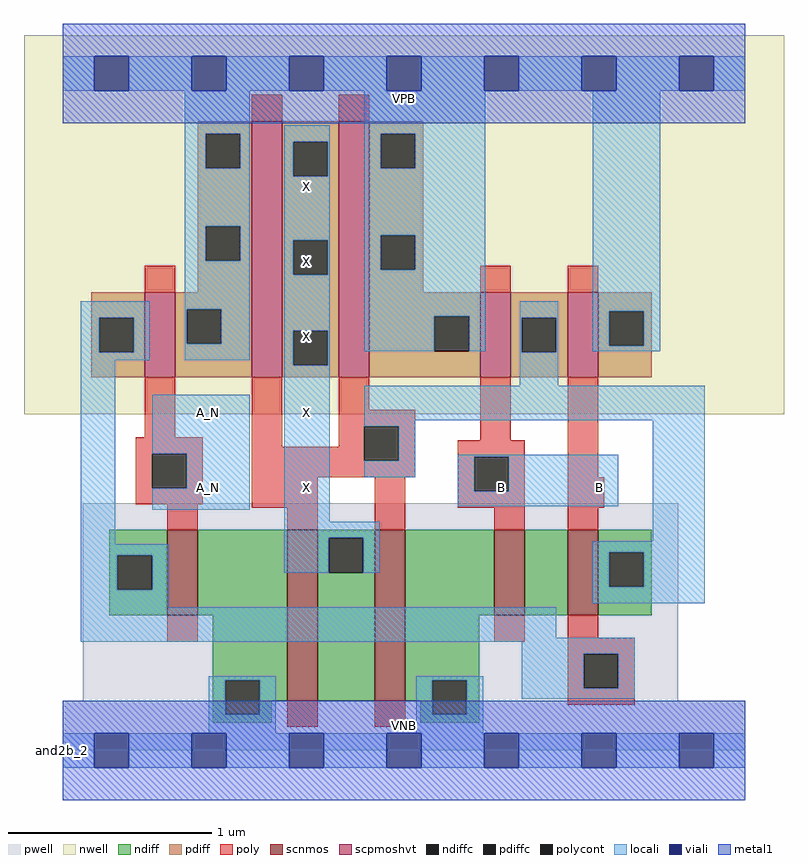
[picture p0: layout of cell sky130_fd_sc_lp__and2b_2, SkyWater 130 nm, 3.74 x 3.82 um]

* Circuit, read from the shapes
.subckt sky130_fd_sc_lp__and2b_2 A_N B VGND VNB VPB VPWR X
XM1 VGND A_N n1 VNB sky130_fd_pr__nfet_01v8 w=0.42 l=0.15
XM2 X n2 VGND VNB sky130_fd_pr__nfet_01v8 w=0.84 l=0.15 m=2
XM3 n3 B VGND VNB sky130_fd_pr__nfet_01v8 w=0.42 l=0.15
XM4 n2 n1 n3 VNB sky130_fd_pr__nfet_01v8 w=0.42 l=0.15
XM5 VPWR A_N n1 VPB sky130_fd_pr__pfet_01v8_hvt w=0.42 l=0.15
XM6 X n2 VPWR VPB sky130_fd_pr__pfet_01v8_hvt w=1.26 l=0.15 m=2
XM7 n2 B VPWR VPB sky130_fd_pr__pfet_01v8_hvt w=0.42 l=0.15
XM8 VPWR n1 n2 VPB sky130_fd_pr__pfet_01v8_hvt w=0.42 l=0.15
.ends

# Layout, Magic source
magic
tech sky130A
magscale 1 2
<< nwell >>
rect -38 331 710 704
<< pwell >>
rect 20 49 606 243
rect 0 0 672 49
<< scnmos >>
rect 103 133 133 217
rect 221 49 251 217
rect 307 49 337 217
rect 425 133 455 217
rect 497 133 527 217
<< scpmoshvt >>
rect 81 367 111 451
rect 186 367 216 619
rect 272 367 302 619
rect 411 367 441 451
rect 497 367 527 451
<< ndiff >>
rect 46 192 103 217
rect 46 158 54 192
rect 88 158 103 192
rect 46 133 103 158
rect 133 133 221 217
rect 148 69 221 133
rect 148 35 160 69
rect 194 49 221 69
rect 251 209 307 217
rect 251 175 262 209
rect 296 175 307 209
rect 251 49 307 175
rect 337 133 425 217
rect 455 133 497 217
rect 527 195 580 217
rect 527 161 538 195
rect 572 161 580 195
rect 527 133 580 161
rect 337 69 410 133
rect 337 49 364 69
rect 194 35 206 49
rect 148 27 206 35
rect 352 35 364 49
rect 398 35 410 69
rect 352 27 410 35
<< pdiff >>
rect 133 607 186 619
rect 133 573 141 607
rect 175 573 186 607
rect 133 516 186 573
rect 133 482 141 516
rect 175 482 186 516
rect 133 451 186 482
rect 28 426 81 451
rect 28 392 36 426
rect 70 392 81 426
rect 28 367 81 392
rect 111 434 186 451
rect 111 400 122 434
rect 156 400 186 434
rect 111 367 186 400
rect 216 599 272 619
rect 216 565 227 599
rect 261 565 272 599
rect 216 502 272 565
rect 216 468 227 502
rect 261 468 272 502
rect 216 413 272 468
rect 216 379 227 413
rect 261 379 272 413
rect 216 367 272 379
rect 302 607 355 619
rect 302 573 313 607
rect 347 573 355 607
rect 302 507 355 573
rect 302 473 313 507
rect 347 473 355 507
rect 302 451 355 473
rect 302 427 411 451
rect 302 393 366 427
rect 400 393 411 427
rect 302 367 411 393
rect 441 426 497 451
rect 441 392 452 426
rect 486 392 497 426
rect 441 367 497 392
rect 527 432 580 451
rect 527 398 538 432
rect 572 398 580 432
rect 527 367 580 398
<< ndiffc >>
rect 54 158 88 192
rect 160 35 194 69
rect 262 175 296 209
rect 538 161 572 195
rect 364 35 398 69
<< pdiffc >>
rect 141 573 175 607
rect 141 482 175 516
rect 36 392 70 426
rect 122 400 156 434
rect 227 565 261 599
rect 227 468 261 502
rect 227 379 261 413
rect 313 573 347 607
rect 313 473 347 507
rect 366 393 400 427
rect 452 392 486 426
rect 538 398 572 432
<< poly >>
rect 186 619 216 645
rect 272 619 302 645
rect 81 451 111 477
rect 411 451 441 477
rect 497 451 527 477
rect 81 308 111 367
rect 72 292 138 308
rect 72 258 88 292
rect 122 258 138 292
rect 72 242 138 258
rect 186 299 216 367
rect 272 335 302 367
rect 272 319 347 335
rect 272 299 297 319
rect 186 285 297 299
rect 331 285 347 319
rect 411 305 441 367
rect 186 269 347 285
rect 389 289 455 305
rect 103 217 133 242
rect 186 239 251 269
rect 221 217 251 239
rect 307 217 337 269
rect 389 255 405 289
rect 439 255 455 289
rect 389 239 455 255
rect 425 217 455 239
rect 497 269 527 367
rect 497 239 533 269
rect 497 217 527 239
rect 103 107 133 133
rect 425 107 455 133
rect 497 111 527 133
rect 221 23 251 49
rect 307 23 337 49
rect 497 95 563 111
rect 497 61 513 95
rect 547 61 563 95
rect 497 45 563 61
<< polycont >>
rect 88 258 122 292
rect 297 285 331 319
rect 405 255 439 289
rect 513 61 547 95
<< locali >>
rect 0 649 31 683
rect 65 649 127 683
rect 161 649 223 683
rect 257 649 319 683
rect 353 649 415 683
rect 449 649 511 683
rect 545 649 607 683
rect 641 649 672 683
rect 120 607 184 649
rect 120 573 141 607
rect 175 573 184 607
rect 120 516 184 573
rect 120 482 141 516
rect 175 482 184 516
rect 18 426 86 442
rect 18 392 36 426
rect 70 392 86 426
rect 18 384 86 392
rect 120 434 184 482
rect 120 400 122 434
rect 156 400 184 434
rect 120 384 184 400
rect 218 599 263 615
rect 218 565 227 599
rect 261 565 263 599
rect 218 502 263 565
rect 218 468 227 502
rect 261 468 263 502
rect 218 413 263 468
rect 18 203 52 384
rect 218 379 227 413
rect 261 379 263 413
rect 297 607 416 649
rect 297 573 313 607
rect 347 573 416 607
rect 297 507 416 573
rect 297 473 313 507
rect 347 473 416 507
rect 297 427 416 473
rect 297 393 366 427
rect 400 393 416 427
rect 450 426 488 442
rect 88 292 184 350
rect 122 258 184 292
rect 88 237 184 258
rect 218 225 263 379
rect 450 392 452 426
rect 486 392 488 426
rect 522 432 588 649
rect 522 398 538 432
rect 572 398 588 432
rect 522 393 588 398
rect 450 359 488 392
rect 297 325 632 359
rect 297 319 347 325
rect 331 285 347 319
rect 297 269 347 285
rect 389 289 547 291
rect 389 255 405 289
rect 439 255 547 289
rect 389 240 547 255
rect 218 209 312 225
rect 18 192 104 203
rect 18 158 54 192
rect 88 158 104 192
rect 218 175 262 209
rect 296 175 312 209
rect 581 206 632 325
rect 522 195 632 206
rect 18 141 104 158
rect 522 161 538 195
rect 572 161 632 195
rect 522 145 632 161
rect 18 111 486 141
rect 18 107 563 111
rect 452 95 563 107
rect 144 69 210 73
rect 144 35 160 69
rect 194 35 210 69
rect 144 17 210 35
rect 348 69 414 73
rect 348 35 364 69
rect 398 35 414 69
rect 452 61 513 95
rect 547 61 563 95
rect 452 51 563 61
rect 348 17 414 35
rect 0 -17 31 17
rect 65 -17 127 17
rect 161 -17 223 17
rect 257 -17 319 17
rect 353 -17 415 17
rect 449 -17 511 17
rect 545 -17 607 17
rect 641 -17 672 17
<< viali >>
rect 31 649 65 683
rect 127 649 161 683
rect 223 649 257 683
rect 319 649 353 683
rect 415 649 449 683
rect 511 649 545 683
rect 607 649 641 683
rect 31 -17 65 17
rect 127 -17 161 17
rect 223 -17 257 17
rect 319 -17 353 17
rect 415 -17 449 17
rect 511 -17 545 17
rect 607 -17 641 17
<< metal1 >>
rect 0 683 672 715
rect 0 649 31 683
rect 65 649 127 683
rect 161 649 223 683
rect 257 649 319 683
rect 353 649 415 683
rect 449 649 511 683
rect 545 649 607 683
rect 641 649 672 683
rect 0 617 672 649
rect 0 17 672 49
rect 0 -17 31 17
rect 65 -17 127 17
rect 161 -17 223 17
rect 257 -17 319 17
rect 353 -17 415 17
rect 449 -17 511 17
rect 545 -17 607 17
rect 641 -17 672 17
rect 0 -49 672 -17
<< labels >>
flabel pwell s 0 0 672 49 0 FreeSans 200 0 0 0 VNB
port 4 nsew ground bidirectional
flabel nwell s 0 617 672 666 0 FreeSans 200 0 0 0 VPB
port 5 nsew power bidirectional
rlabel comment s 0 0 0 0 4 and2b_2
flabel metal1 s 0 617 672 666 0 FreeSans 340 0 0 0 VPWR
port 6 nsew power bidirectional
flabel metal1 s 0 0 672 49 0 FreeSans 340 0 0 0 VGND
port 3 nsew ground bidirectional
flabel locali s 415 242 449 276 0 FreeSans 340 0 0 0 B
port 2 nsew signal input
flabel locali s 511 242 545 276 0 FreeSans 340 0 0 0 B
port 2 nsew signal input
flabel locali s 127 242 161 276 0 FreeSans 340 0 0 0 A_N
port 1 nsew signal input
flabel locali s 127 316 161 350 0 FreeSans 340 0 0 0 A_N
port 1 nsew signal input
flabel locali s 223 242 257 276 0 FreeSans 340 0 0 0 X
port 7 nsew signal output
flabel locali s 223 316 257 350 0 FreeSans 340 0 0 0 X
port 7 nsew signal output
flabel locali s 223 390 257 424 0 FreeSans 340 0 0 0 X
port 7 nsew signal output
flabel locali s 223 464 257 498 0 FreeSans 340 0 0 0 X
port 7 nsew signal output
flabel locali s 223 538 257 572 0 FreeSans 340 0 0 0 X
port 7 nsew signal output
<< properties >>
string LEFsite unit
string LEFclass CORE
string FIXED_BBOX 0 0 672 666
string GDS_FILE $PDKPATH/libs.ref/sky130_fd_sc_lp/gds/sky130_fd_sc_lp.gds
string LEFsymmetry X Y R90
string GDS_END 5126662
string GDS_START 5120406
<< end >>
